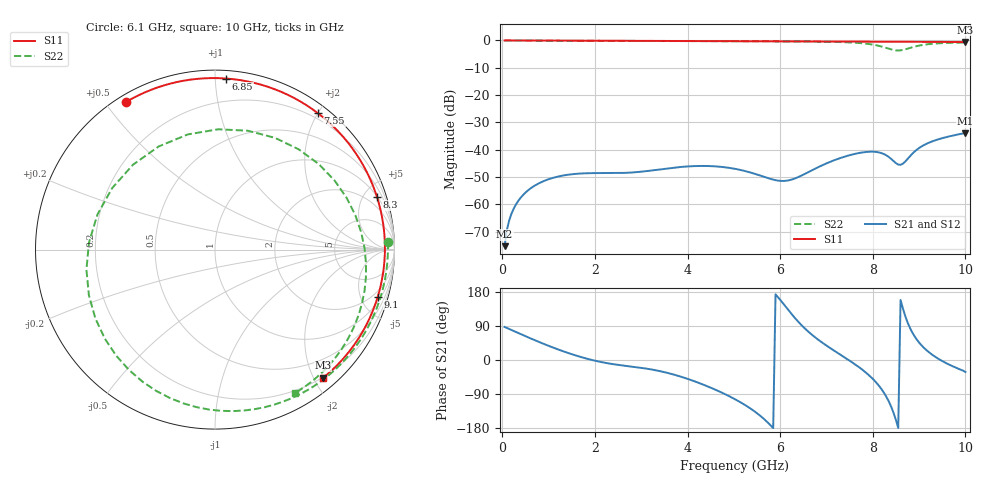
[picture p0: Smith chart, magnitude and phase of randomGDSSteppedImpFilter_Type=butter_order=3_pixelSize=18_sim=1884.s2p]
! freq	dB(S11)	phase(S11)	dB(S12)	phase(S12)
!  dB(S21)	phase(S21)	dB(S22)	phase(S22)
!S-par simulation data
#  GHz  S  DB  R 50
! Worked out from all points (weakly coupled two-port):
!   200 points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, 50 MHz to 10 GHz, reference 50 ohm
!   highest |S21| = -33.96 dB at 10 GHz (marker M1); lowest = -75.4 dB at 50 MHz (marker M2)
!   lowest |S11| = -0.6 dB at 10 GHz (marker M3), VSWR 29.42, Z = 9.51 - j107 ohm
!   |S11| at or under -10 dB: nowhere
!   |S22| runs from -3.7 to 0.0 dB; largest |S21 - S12| = 0
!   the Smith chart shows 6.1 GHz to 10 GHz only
!   S11 on the Smith chart (normalised r, x): 6.1 GHz: 0.03, +0.57; 6.85 GHz: 0.05, +1.07; 7.55 GHz: 0.12, +2.00; 8.3 GHz: 1.04, +6.12; 9.1 GHz: 1.40, -6.77; 10 GHz: 0.19, -2.14
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0.05  -0.00 -2.1  -75.36 87.2  -75.36 87.2  -0.00 -3.5
0.2  -0.01 -8.2  -63.38 79.0  -63.38 79.0  -0.02 -14.0
0.5  -0.02 -20.3  -55.74 62.8  -55.74 62.8  -0.04 -34.6
1.15  -0.06 -46.3  -50.08 30.4  -50.08 30.4  -0.10 -78.2
1.75  -0.09 -69.6  -48.69 6.0  -48.69 6.0  -0.14 -116.4
2.6  -0.13 -101.7  -48.54 -14.5  -48.54 -14.5  -0.18 -167.6
3.4  -0.17 -131.3  -47.24 -29.3  -47.24 -29.3  -0.21 146.3
4.25  -0.22 -163.1  -45.98 -60.7  -45.98 -60.7  -0.24 98.6
5.05  -0.27 165.6  -47.11 -105.2  -47.11 -105.2  -0.27 55.6
6.1  -0.35 120.9  -51.45 143.7  -51.45 143.7  -0.32 2.5
6.7  -0.39 93.3  -47.44 65.2  -47.44 65.2  -0.39 -27.1
6.85  -0.40 86.3  -46.18 51.0  -46.18 51.0  -0.43 -34.7
7.55  -0.43 52.9  -41.81 -5.9  -41.81 -5.9  -0.76 -76.0
8  -0.44 31.8  -40.75 -49.8  -40.75 -49.8  -1.52 -118.7
8.3  -0.46 18.1  -42.16 -98.6  -42.16 -98.6  -2.79 -171.1
8.35  -0.46 15.8  -42.75 -110.4  -42.75 -110.4  -3.06 176.7
8.5  -0.46 9.2  -44.95 -158.3  -44.95 -158.3  -3.64 134.1
8.65  -0.47 2.6  -45.15 136.3  -45.15 136.3  -3.47 88.5
8.85  -0.48 -5.9  -41.56 73.3  -41.56 73.3  -2.51 39.5
9.1  -0.50 -16.1  -38.37 32.7  -38.37 32.7  -1.58 0.5
9.5  -0.53 -31.8  -35.80 -2.8  -35.80 -2.8  -0.98 -34.9
10  -0.59 -49.9  -33.96 -31.6  -33.96 -31.6  -0.77 -60.9
